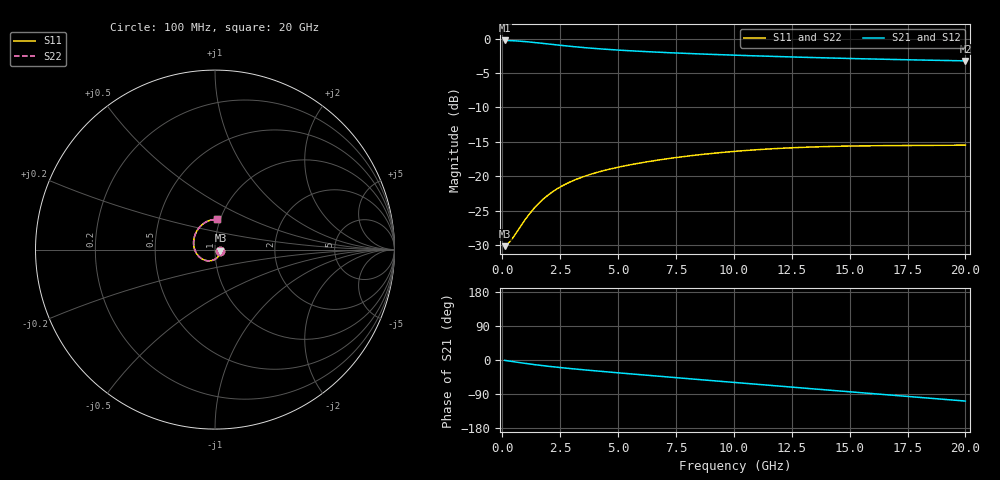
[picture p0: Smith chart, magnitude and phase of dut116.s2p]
! Created with skrf 1.9.0 (http://scikit-rf.org).
# GHz S RI R 50.0
!freq ReS11 ImS11 ReS21 ImS21 ReS12 ImS12 ReS22 ImS22
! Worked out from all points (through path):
!   200 points, 100 MHz to 20 GHz, reference 50 ohm
!   highest |S21| = -0.27 dB at 100 MHz (marker M1); lowest = -3.2 dB at 20 GHz (marker M2)
!   group delay of S21, straight-line fit = 14.3 ps
!   lowest |S11| = -30.1 dB at 100 MHz (marker M3), VSWR 1.06, Z = 53.2 - j0.601 ohm
!   |S11| at or under -10 dB: start of sweep to end of sweep
!   |S22| runs from -30.1 to -15.5 dB; largest |S21 - S12| = 2.3e-15
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0.1  0.0306 -0.00565  0.9688 -0.0158  0.9688 -0.0158  0.0306 -0.00565
0.2  0.03 -0.0111  0.9676 -0.0318  0.9676 -0.0318  0.03 -0.0111
0.4  0.0272 -0.0217  0.9635 -0.063  0.9635 -0.063  0.0272 -0.0217
1  0.0082 -0.0482  0.9386 -0.1493  0.9386 -0.1493  0.0082 -0.0482
1.3  -0.00521 -0.0565  0.9211 -0.1873  0.9211 -0.1873  -0.00521 -0.0565
1.5  -0.0148 -0.0601  0.9083 -0.2105  0.9083 -0.2105  -0.0148 -0.0601
1.8  -0.0293 -0.0626  0.8881 -0.2423  0.8881 -0.2423  -0.0293 -0.0626
2.2  -0.0479 -0.0614  0.8606 -0.2797  0.8606 -0.2797  -0.0479 -0.0614
2.6  -0.0646 -0.056  0.8333 -0.3126  0.8333 -0.3126  -0.0646 -0.056
3  -0.0789 -0.0477  0.8068 -0.3419  0.8068 -0.3419  -0.0789 -0.0477
3.5  -0.0932 -0.0348  0.7749 -0.3749  0.7749 -0.3749  -0.0932 -0.0348
4.1  -0.1055 -0.0173  0.7382 -0.4107  0.7382 -0.4107  -0.1055 -0.0173
4.9  -0.1153 0.00694  0.6911 -0.4542  0.6911 -0.4542  -0.1153 0.00694
6.8  -0.1171 0.0606  0.5811 -0.5429  0.5811 -0.5429  -0.1171 0.0606
8.5  -0.1037 0.0992  0.4801 -0.6067  0.4801 -0.6067  -0.1037 0.0992
10.1  -0.0846 0.1265  0.3822 -0.6532  0.3822 -0.6532  -0.0846 0.1265
11.7  -0.0634 0.1455  0.2825 -0.6862  0.2825 -0.6862  -0.0634 0.1455
13.4  -0.0415 0.1581  0.1758 -0.7068  0.1758 -0.7068  -0.0415 0.1581
15  -0.0235 0.1643  0.0763 -0.7128  0.0763 -0.7128  -0.0235 0.1643
16.7  -0.00824 0.167  -0.0273 -0.7057  -0.0273 -0.7057  -0.00824 0.167
18.3  0.00198 0.1677  -0.1216 -0.6867  -0.1216 -0.6867  0.00198 0.1677
20  0.00863 0.1682  -0.217 -0.654  -0.217 -0.654  0.00863 0.1682
